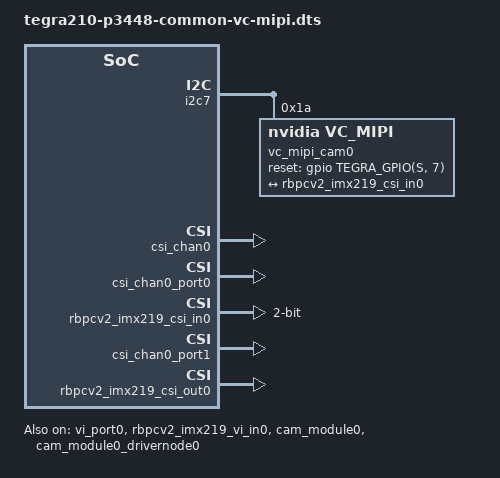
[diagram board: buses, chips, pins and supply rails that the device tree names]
// SPDX-License-Identifier: GPL-2.0
/* Jetson Nano A02 single-camera overlay for Vision Components MIPI modules. */

/dts-v1/;
/plugin/;

#include <dt-bindings/gpio/gpio.h>
#include <dt-bindings/gpio/tegra-gpio.h>

/ {
	overlay-name = "Camera VC MIPI";
	jetson-header-name = "Jetson Nano CSI Connector";
	compatible = "nvidia,p3449-0000-a02+p3448-0000-a02";

	fragment@0 {
		target = <&i2c7>;
		__overlay__ {
			#address-cells = <1>;
			#size-cells = <0>;

			vc_mipi_cam0: vc_mipi@1a {
				compatible = "nvidia,vc_mipi";
				reg = <0x1a>;
				vc,controller-address = <0x10>;
				vc,sensor-address = <0x1a>;
				status = "okay";
				devnode = "video0";
				use_sensor_mode_id = "false";
				sensor_model = "vc_mipi";
				num_lanes = "2";
				trigger_mode = "0";
				io_mode = "0";
				physical_w = "1.000";
				physical_h = "1.000";
				reset-gpios = <&gpio TEGRA_GPIO(S, 7) GPIO_ACTIVE_HIGH>;

				/*
				 * The universal driver replaces the zero-sized placeholder
				 * with dimensions and formats read from the VC descriptor.
				 * Model-specific Argus tuning remains a Stage 2 profile task.
				 */
				mode0 {
					num_lanes = "2";
					tegra_sinterface = "serial_a";
					embedded_metadata_height = "0";
					readout_orientation = "0";
					active_l = "0";
					active_t = "0";
					active_w = "0";
					active_h = "0";
					pixel_t = "bayer_rggb";
					min_gain_val = "0";
					max_gain_val = "48000";
					step_gain_val = "100";
					default_gain = "0";
					min_exp_time = "1";
					max_exp_time = "1000000";
					step_exp_time = "1";
					default_exp_time = "10000";
					min_framerate = "1000";
					max_framerate = "60000";
					step_framerate = "100";
					default_framerate = "60000";
					gain_factor = "1000";
					exposure_factor = "1000000";
					framerate_factor = "1000";
					inherent_gain = "1";
					min_hdr_ratio = "1";
					max_hdr_ratio = "1";
					line_length = "0";
					phy_mode = "DPHY";
					discontinuous_clk = "no";
					mclk_khz = "24000";
					pix_clk_hz = "800000000";
					mclk_multiplier = "9.33";
					cil_settletime = "0";
					dpcm_enable = "false";
				};

				ports {
					#address-cells = <1>;
					#size-cells = <0>;
					port@0 {
						reg = <0>;
						vc_mipi_out0: endpoint {
							port-index = <0>;
							bus-width = <2>;
							remote-endpoint = <&rbpcv2_imx219_csi_in0>;
						};
					};
				};
			};
		};
	};

	fragment@1 {
		target = <&imx219_single_cam0>;
		__overlay__ { status = "disabled"; };
	};

	fragment@2 {
		target = <&imx477_single_cam0>;
		__overlay__ { status = "disabled"; };
	};

	fragment@3 {
		target = <&vi_base>;
		__overlay__ { num-channels = <1>; };
	};

	fragment@4 {
		target = <&vi_port0>;
		__overlay__ { status = "okay"; };
	};

	fragment@5 {
		target = <&rbpcv2_imx219_vi_in0>;
		__overlay__ {
			status = "okay";
			port-index = <0>;
			bus-width = <2>;
			remote-endpoint = <&rbpcv2_imx219_csi_out0>;
		};
	};

	fragment@6 {
		target = <&csi_base>;
		__overlay__ { num-channels = <1>; };
	};

	fragment@7 {
		target = <&csi_chan0>;
		__overlay__ { status = "okay"; };
	};

	fragment@8 {
		target = <&csi_chan0_port0>;
		__overlay__ { status = "okay"; };
	};

	fragment@9 {
		target = <&rbpcv2_imx219_csi_in0>;
		__overlay__ {
			status = "okay";
			port-index = <0>;
			bus-width = <2>;
			remote-endpoint = <&vc_mipi_out0>;
		};
	};

	fragment@10 {
		target = <&csi_chan0_port1>;
		__overlay__ { status = "okay"; };
	};

	fragment@11 {
		target = <&rbpcv2_imx219_csi_out0>;
		__overlay__ {
			status = "okay";
			remote-endpoint = <&rbpcv2_imx219_vi_in0>;
		};
	};

	fragment@12 {
		target = <&cam_module0>;
		__overlay__ {
			status = "okay";
			badge = "porg_front_vc_mipi";
			position = "front";
			orientation = "1";
		};
	};

	fragment@13 {
		target = <&cam_module0_drivernode0>;
		__overlay__ {
			status = "okay";
			pcl_id = "v4l2_sensor";
			devname = "vc_mipi 6-001a";
			proc-device-tree = "/proc/device-tree/host1x/i2c@546c0000/vc_mipi@1a";
		};
	};

	fragment@14 {
		target = <&cam_module0_drivernode1>;
		__overlay__ { status = "disabled"; };
	};

	fragment@15 {
		target = <&tcp>;
		__overlay__ {
			num_csi_lanes = <2>;
			max_lane_speed = <1500000>;
			min_bits_per_pixel = <10>;
			vi_peak_byte_per_pixel = <2>;
			vi_bw_margin_pct = <25>;
			max_pixel_rate = <240000>;
			isp_peak_byte_per_pixel = <5>;
			isp_bw_margin_pct = <25>;
		};
	};
};
